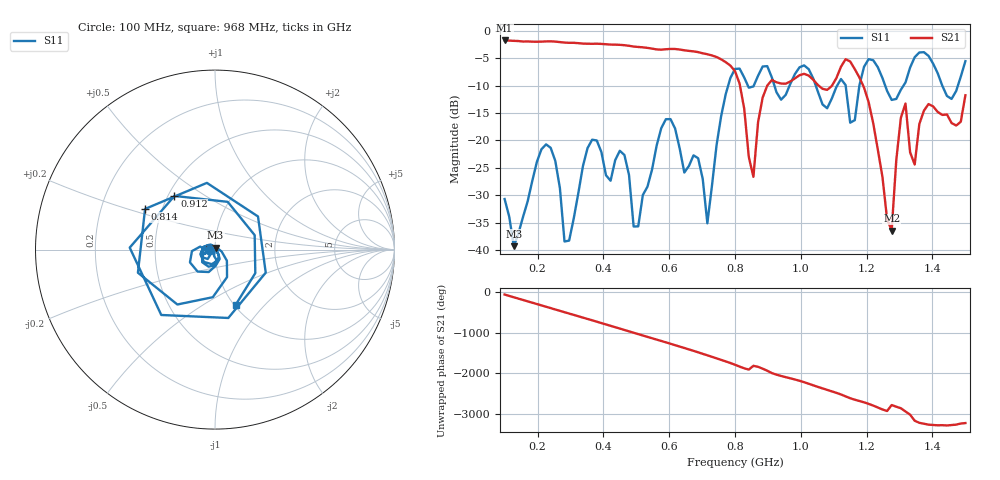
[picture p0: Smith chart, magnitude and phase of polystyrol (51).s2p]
! NanoVNA-App
! Date: 2025-09-26 09:42:16
! Start: 100MHz Stop: 1,5GHz Points: 101
! S-Parameter data: F S11 S21 S12 S22
# Hz S RI R 50
!  Frequency  S11_Real  S11_Imag  S21_Real  S21_Imag  S12_Real  S12_Imag  S22_Real  S22_Imag
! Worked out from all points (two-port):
!   101 points, 100 MHz to 1.5 GHz, reference 50 ohm
!   highest |S21| = -1.79 dB at 100 MHz (marker M1); lowest = -36.4 dB at 1.276 GHz (marker M2)
!   |S21| within 3 dB of the highest: start of sweep to 743.3 MHz
!   lowest |S11| = -39.2 dB at 128 MHz (marker M3), VSWR 1.02, Z = 50.3 + j1.06 ohm
!   |S11| at or under -10 dB: start of sweep to 779.3 MHz; 1.045 GHz to 1.11 GHz (65.15 MHz wide, 6.04 % of centre); 1.256 GHz to 1.312 GHz (55.77 MHz wide, 4.34 % of centre)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
!   S12 and S22 are empty: the file has one direction only
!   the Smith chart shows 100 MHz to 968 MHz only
!   S11 on the Smith chart (normalised r, x): 100 MHz: 0.94, -0.01; 814 MHz: 0.40, +0.23; 912 MHz: 0.54, +0.38; 968 MHz: 1.02, -0.70
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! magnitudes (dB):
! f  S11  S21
! 100 MHz  -30.7  -1.8
! 128 MHz  -39.2  -1.9
! 212 MHz  -21.6  -2.0
! 254 MHz  -23.7  -2.0
! 282 MHz  -38.4  -2.2
! 338 MHz  -24.7  -2.4
! 464 MHz  -22.6  -2.7
! 506 MHz  -35.6  -3.0
! 576 MHz  -17.7  -3.5
! 688 MHz  -23.2  -3.9
! 716 MHz  -35.1  -4.3
! 800 MHz  -7.0  -7.4
! 814 MHz  -6.9  -9.6
! 856 MHz  -10.2  -26.6
! 912 MHz  -8.5  -9.0
! 968 MHz  -9.7  -9.3
! 1.038 GHz  -8.7  -9.0
! 1.178 GHz  -9.9  -8.5
! 1.276 GHz  -12.6  -36.4
! 1.318 GHz  -9.4  -13.3
! 1.346 GHz  -4.8  -24.4
! 1.5 GHz  -5.6  -11.8
